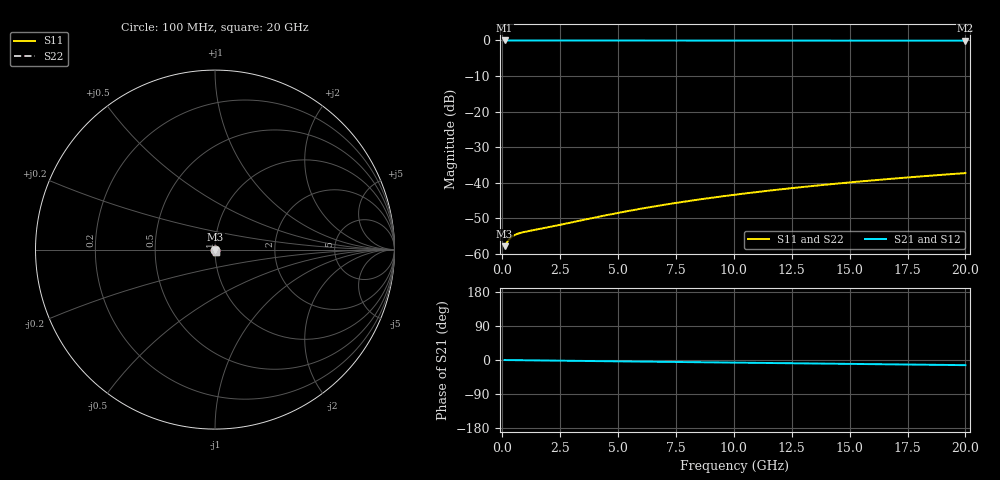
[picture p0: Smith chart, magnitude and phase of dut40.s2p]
! Touchstone file exported from HFSS 2026.1.0
!  File:  C:/ffzhzh/LocalFiles/Ansys_Project_Files/temp_train_TMRDL_40_1782880661_13352.aedt
!  Generated:  12:38:50 PM Jul  1, 2026
!  Design:  TMRDL
!  Project:  temp_train_TMRDL_40_1782880661_13352
! Variables:
!  h_bsmrdl = 2um
!  h_ox = 20um
!  h_rdl = 5um
!  h_sub = 80um
!  h_tmrdl = 4.53um
!  h_tsv = 80um
!  h_via = 3um
!  l_bsmrdl = 300um
!  l_sub = 639.52um
!  l_tmrdl = 239.52um
!  m_sub = 200um
!  pitch = 21um
!  r_tsv = 6um
!  s_tmrdl = 10um
!  w_bsmrdl = 18um
!  w_sub = 500um
!  w_tmrdl = 17.36um
!  x_tsv_center1 = 248.2um
!  x_tsv_center2 = 566.2um
!  x_tsv_center3 = 823.08um
!  x_tsv_center4 = 1141.08um
!  x_tsv_center5 = 1397.96um
!  x_tsv_center6 = 1715.96um
# GHz S MA R 50.000000
! Terminal data exported
! Port[1] = TM_RDL1_1_T1
! Port[2] = TM_RDL1_1_T2
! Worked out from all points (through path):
!   200 points, 100 MHz to 20 GHz, reference 50 ohm
!   highest |S21| = -0.01 dB at 100 MHz (marker M1); lowest = -0.1 dB at 20 GHz (marker M2)
!   group delay of S21, straight-line fit = 1.88 ps
!   lowest |S11| = -57.8 dB at 100 MHz (marker M3), VSWR 1.00, Z = 50.1 + j0.0219 ohm
!   |S11| at or under -10 dB: start of sweep to end of sweep
!   |S22| runs from -57.8 to -37.3 dB; largest |S21 - S12| = 4.1e-15
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0.1  0.001284 9.8  0.9987 -0.1  0.9987 -0.1  0.001284 9.8
! Gamma 0 0 0 0
! Port Impedance 50 0 50 0
0.2  0.001448 14.5  0.9986 -0.2  0.9986 -0.2  0.001448 14.5
0.3  0.001606 15.4  0.9985 -0.2  0.9985 -0.2  0.001606 15.4
0.4  0.001728 14.7  0.9983 -0.3  0.9983 -0.3  0.001728 14.7
0.5  0.001817 13.6  0.9982 -0.4  0.9982 -0.4  0.001817 13.6
0.6  0.001884 12.5  0.9982 -0.5  0.9982 -0.5  0.001884 12.5
0.7  0.001936 11.5  0.9981 -0.5  0.9981 -0.5  0.001936 11.5
1  0.00205 9.4  0.998 -0.7  0.998 -0.7  0.00205 9.4
2.2  0.002446 4.5  0.9976 -1.6  0.9976 -1.6  0.002446 4.5
3.5  0.003002 -1.7  0.997 -2.5  0.997 -2.5  0.003002 -1.7
4.4  0.003449 -6.8  0.9966 -3.1  0.9966 -3.1  0.003449 -6.8
5.2  0.003876 -11.5  0.9962 -3.7  0.9962 -3.7  0.003876 -11.5
6  0.004323 -16.2  0.9958 -4.2  0.9958 -4.2  0.004323 -16.2
6.8  0.004786 -20.8  0.9954 -4.8  0.9954 -4.8  0.004787 -20.8
8.4  0.005752 -29.0  0.9947 -5.8  0.9947 -5.8  0.005752 -29.0
10.1  0.006823 -36.6  0.994 -7.0  0.994 -7.0  0.006824 -36.6
11.7  0.007866 -42.7  0.9935 -8.1  0.9935 -8.1  0.007867 -42.7
13.4  0.009005 -48.3  0.993 -9.2  0.993 -9.2  0.009007 -48.3
15  0.0101 -52.8  0.9925 -10.3  0.9925 -10.3  0.01011 -52.8
16.7  0.01129 -57.1  0.992 -11.4  0.992 -11.4  0.0113 -57.1
18.3  0.01243 -60.7  0.9916 -12.5  0.9916 -12.5  0.01244 -60.7
20  0.01366 -64.1  0.9912 -13.6  0.9912 -13.6  0.01367 -64.1
